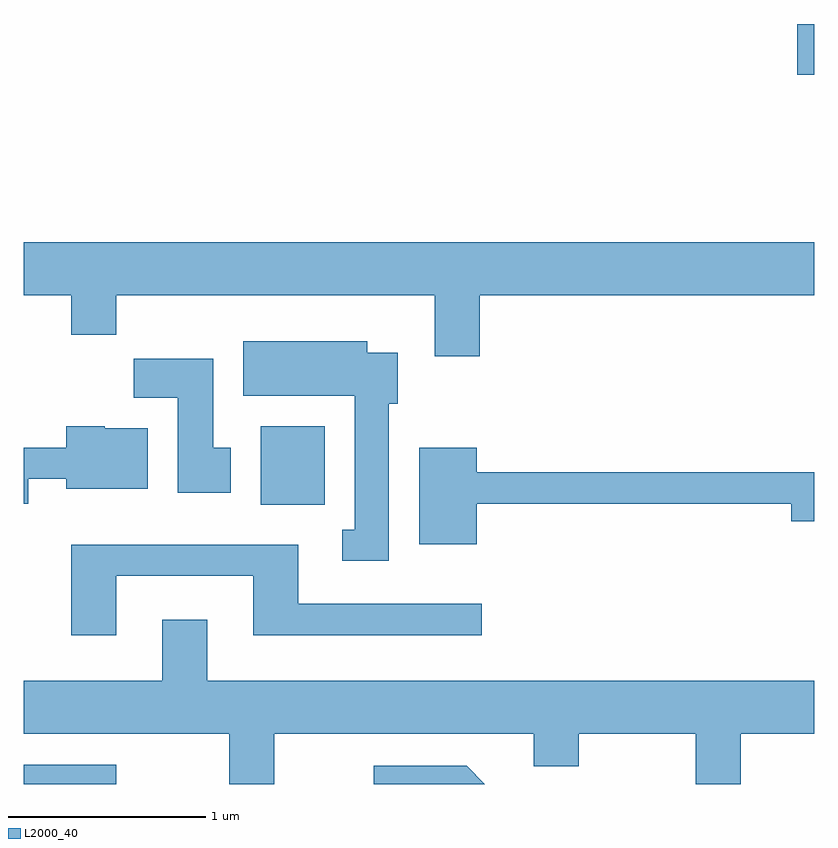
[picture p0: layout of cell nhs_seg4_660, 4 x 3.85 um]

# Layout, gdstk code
import gdstk
lib = gdstk.Library(unit=1e-6, precision=1e-09)
def R(c, l, rs):  # rectangles x0, y0, x1, y1
    for r in rs: c.add(gdstk.rectangle(r[:2], r[2:], *l))
def P(c, l, *ps):  # polygons
    for p in ps: c.add(gdstk.Polygon(p, *l))
L2000_40 = (2000, 40)

nhs_seg4_660 = lib.new_cell('nhs_seg4_660')
R(nhs_seg4_660, L2000_40, [(203.611,1349.982,204.079,1350.079), (204.811,1351.396,205.134,1351.794), (207.526,1353.571,207.611,1353.829)])
P(nhs_seg4_660, L2000_40, [(205.919,1352.456),(207.611,1352.456),(207.611,1352.724),(203.611,1352.724),(203.611,1352.456),(203.851,1352.456),(203.851,1352.256),(204.079,1352.256),(204.079,1352.456),(205.691,1352.456),(205.691,1352.146),(205.919,1352.146)],
  [(205.459,1351.906),(205.504,1351.906),(205.504,1352.164),(205.349,1352.164),(205.349,1352.224),(204.721,1352.224),(204.721,1351.946),(205.286,1351.946),(205.286,1351.269),(205.223,1351.269),(205.223,1351.111),(205.459,1351.111)],
  [(204.659,1351.684),(204.569,1351.684),(204.569,1352.134),(204.166,1352.134),(204.166,1351.936),(204.391,1351.936),(204.391,1351.456),(204.659,1351.456)],
  [(203.634,1351.526),(203.826,1351.526),(203.826,1351.476),(204.239,1351.476),(204.239,1351.784),(204.02,1351.784),(204.02,1351.794),(203.826,1351.794),(203.826,1351.684),(203.611,1351.684),(203.611,1351.401),(203.634,1351.401)],
  [(205.904,1351.401),(207.496,1351.401),(207.496,1351.311),(207.611,1351.311),(207.611,1351.559),(205.904,1351.559),(205.904,1351.684),(205.611,1351.684),(205.611,1351.196),(205.904,1351.196)],
  [(204.079,1351.036),(204.771,1351.036),(204.771,1350.736),(205.928,1350.736),(205.928,1350.894),(204.999,1350.894),(204.999,1351.194),(203.851,1351.194),(203.851,1350.736),(204.079,1350.736)],
  [(204.879,1350.236),(206.191,1350.236),(206.191,1350.071),(206.419,1350.071),(206.419,1350.236),(207.011,1350.236),(207.011,1349.982),(207.239,1349.982),(207.239,1350.236),(207.611,1350.236),(207.611,1350.504),(204.539,1350.504),(204.539,1350.814),(204.311,1350.814),(204.311,1350.504),(203.611,1350.504),(203.611,1350.236),(204.651,1350.236),(204.651,1349.982),(204.879,1349.982)],
  [(205.852,1350.074),(205.383,1350.074),(205.383,1349.982),(205.944,1349.982)])

lib.write_gds('nhs_seg4_660.gds')
